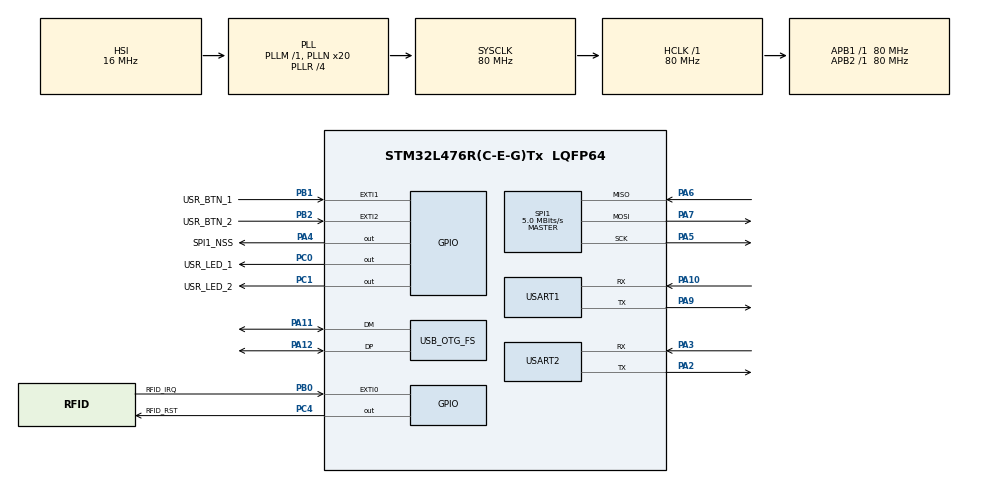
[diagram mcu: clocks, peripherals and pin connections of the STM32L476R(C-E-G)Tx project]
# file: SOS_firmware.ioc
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Mcu.Family=STM32L4
Mcu.Name=STM32L476R(C-E-G)Tx
Mcu.Package=LQFP64
NVIC.PriorityGroup=NVIC_PRIORITYGROUP_4
NVIC.TIM6_DAC_IRQn=true\:15\:0\:false\:false\:true\:false\:true\:true
NVIC.TimeBase=TIM6_DAC_IRQn
NVIC.TimeBaseIP=TIM6
PA10.Mode=Asynchronous
PA10.Signal=USART1_RX
PA11.Mode=Device_Only
PA11.Signal=USB_OTG_FS_DM
PA12.Mode=Device_Only
PA12.Signal=USB_OTG_FS_DP
PA13\ (JTMS-SWDIO).Mode=Trace_Asynchronous_SW
PA13\ (JTMS-SWDIO).Signal=SYS_JTMS-SWDIO
PA14\ (JTCK-SWCLK).Mode=Trace_Asynchronous_SW
PA14\ (JTCK-SWCLK).Signal=SYS_JTCK-SWCLK
PA2.Mode=Asynchronous
PA2.Signal=USART2_TX
PA3.Mode=Asynchronous
PA3.Signal=USART2_RX
PA4.GPIO_Label=SPI1_NSS
PA4.Signal=GPIO_Output
PA5.Mode=Full_Duplex_Master
PA5.Signal=SPI1_SCK
PA6.Mode=Full_Duplex_Master
PA6.Signal=SPI1_MISO
PA7.Mode=Full_Duplex_Master
PA7.Signal=SPI1_MOSI
PA9.Mode=Asynchronous
PA9.Signal=USART1_TX
PB0.GPIO_Label=RFID_IRQ
PB0.Signal=GPXTI0
PB1.GPIO_Label=USR_BTN_1
PB1.Signal=GPXTI1
PB2.GPIO_Label=USR_BTN_2
PB2.Signal=GPXTI2
PB3\ (JTDO-TRACESWO).Mode=Trace_Asynchronous_SW
PB3\ (JTDO-TRACESWO).Signal=SYS_JTDO-SWO
PC0.GPIO_Label=USR_LED_1
PC0.Signal=GPIO_Output
PC1.GPIO_Label=USR_LED_2
PC1.Signal=GPIO_Output
PC4.GPIO_Label=RFID_RST
PC4.Signal=GPIO_Output
PH0-OSC_IN\ (PH0).Mode=HSE-External-Oscillator
PH0-OSC_IN\ (PH0).Signal=RCC_OSC_IN
PH1-OSC_OUT\ (PH1).Mode=HSE-External-Oscillator
PH1-OSC_OUT\ (PH1).Signal=RCC_OSC_OUT
ProjectManager.HeapSize=0x200
ProjectManager.StackSize=0x400
ProjectManager.TargetToolchain=STM32CubeIDE
RCC.ADCFreq_Value=96000000
RCC.AHBFreq_Value=80000000
RCC.APB1Freq_Value=80000000
RCC.APB1TimFreq_Value=80000000
RCC.APB2Freq_Value=80000000
RCC.APB2TimFreq_Value=80000000
RCC.CortexFreq_Value=80000000
RCC.FLatency-AdvancedSettings=FLASH_LATENCY_0
RCC.HCLKFreq_Value=80000000
RCC.HSE_VALUE=8000000
RCC.HSI_VALUE=16000000
RCC.LSE_VALUE=32768
RCC.MSI_VALUE=4000000
RCC.PLLN=20
RCC.PLLR=RCC_PLLR_DIV4
RCC.PLLSAI1N=12
RCC.PLLSAI1Q=RCC_PLLQ_DIV4
RCC.PLLSource=RCC_PLLSOURCE_HSI
RCC.PLLSourceVirtual=RCC_PLLSOURCE_HSI
RCC.SYSCLKFreq_VALUE=80000000
RCC.SYSCLKSource=RCC_SYSCLKSOURCE_PLLCLK
RCC.USBFreq_Value=48000000
RCC.VCOOutputFreq_Value=320000000
SPI1.BaudRatePrescaler=SPI_BAUDRATEPRESCALER_16
SPI1.CalculateBaudRate=5.0 MBits/s
SPI1.DataSize=SPI_DATASIZE_8BIT
SPI1.Direction=SPI_DIRECTION_2LINES
SPI1.Mode=SPI_MODE_MASTER
SPI1.VirtualType=VM_MASTER
USART1.VirtualMode-Asynchronous=VM_ASYNC
USART2.VirtualMode-Asynchronous=VM_ASYNC
USB_OTG_FS.VirtualMode=Device_Only
VP_SYS_VS_tim6.Mode=TIM6
board=custom

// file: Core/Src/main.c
/* USER CODE BEGIN Header */
/**
 ******************************************************************************
 * @file           : main.c
 * @brief          : Main program body
 ******************************************************************************
 * @attention
 *
 * Copyright (c) 2026 STMicroelectronics.
 * All rights reserved.
 *
 * This software is licensed under terms that can be found in the LICENSE file
 * in the root directory of this software component.
 * If no LICENSE file comes with this software, it is provided AS-IS.
 *
 ******************************************************************************
 */
/* USER CODE END Header */
#include "main.h"
#include "spi.h"
#include "usart.h"
#include "usb_otg.h"
#include "gpio.h"

/* USER CODE BEGIN Includes */
#include "rfid.h"
#include "algo.h"
/* USER CODE END Includes */

void SystemClock_Config(void);

/* USER CODE BEGIN 0 */
// pour les printf
int __io_putchar(int ch){
	HAL_UART_Transmit(&huart2, (uint8_t *)&ch, 1, HAL_MAX_DELAY);
	return ch;
}

int __io_getchar(void){
	uint8_t ch = 0;
	__HAL_UART_CLEAR_OREFLAG(&huart2);
	HAL_UART_Receive(&huart2, (uint8_t *)&ch, 1, HAL_MAX_DELAY);
	HAL_UART_Transmit(&huart2, (uint8_t *)&ch, 1, HAL_MAX_DELAY);
	return ch;
}
/* USER CODE END 0 */

int main(void)
{

  /* MCU Configuration--------------------------------------------------------*/

  /* Reset of all peripherals, Initializes the Flash interface and the Systick. */
  HAL_Init();

  /* Configure the system clock */
  SystemClock_Config();

  /* Initialize all configured peripherals */
  MX_GPIO_Init();
  MX_SPI1_Init();
  MX_USART1_UART_Init();
  MX_USB_OTG_FS_PCD_Init();
  MX_USART2_UART_Init();
  /* USER CODE BEGIN 2 */
	printf("Hello world Init\r\n");
	// INIT RFID
	RFID_init(&hrfid1, &hspi1, SPI1_NSS_GPIO_Port, SPI1_NSS_Pin, RFID_RST_GPIO_Port, RFID_RST_Pin);
  /* USER CODE END 2 */

  /* Infinite loop */
  /* USER CODE BEGIN WHILE */
	while (1)
	{
		printf("Hello world\r\n");
		HAL_Delay(1000);
		test();
    /* USER CODE END WHILE */

	}
}

void SystemClock_Config(void)
{
  RCC_OscInitTypeDef RCC_OscInitStruct = {0};
  RCC_ClkInitTypeDef RCC_ClkInitStruct = {0};

  /** Configure the main internal regulator output voltage
  */
  if (HAL_PWREx_ControlVoltageScaling(PWR_REGULATOR_VOLTAGE_SCALE1) != HAL_OK)
  {
    Error_Handler();
  }

  /** Initializes the RCC Oscillators according to the specified parameters
  * in the RCC_OscInitTypeDef structure.
  */
  RCC_OscInitStruct.OscillatorType = RCC_OSCILLATORTYPE_HSI;
  RCC_OscInitStruct.HSIState = RCC_HSI_ON;
  RCC_OscInitStruct.HSICalibrationValue = RCC_HSICALIBRATION_DEFAULT;
  RCC_OscInitStruct.PLL.PLLState = RCC_PLL_ON;
  RCC_OscInitStruct.PLL.PLLSource = RCC_PLLSOURCE_HSI;
  RCC_OscInitStruct.PLL.PLLM = 1;
  RCC_OscInitStruct.PLL.PLLN = 20;
  RCC_OscInitStruct.PLL.PLLP = RCC_PLLP_DIV7;
  RCC_OscInitStruct.PLL.PLLQ = RCC_PLLQ_DIV2;
  RCC_OscInitStruct.PLL.PLLR = RCC_PLLR_DIV4;
  if (HAL_RCC_OscConfig(&RCC_OscInitStruct) != HAL_OK)
  {
    Error_Handler();
  }

  /** Initializes the CPU, AHB and APB buses clocks
  */
  RCC_ClkInitStruct.ClockType = RCC_CLOCKTYPE_HCLK|RCC_CLOCKTYPE_SYSCLK
                              |RCC_CLOCKTYPE_PCLK1|RCC_CLOCKTYPE_PCLK2;
  RCC_ClkInitStruct.SYSCLKSource = RCC_SYSCLKSOURCE_PLLCLK;
  RCC_ClkInitStruct.AHBCLKDivider = RCC_SYSCLK_DIV1;
  RCC_ClkInitStruct.APB1CLKDivider = RCC_HCLK_DIV1;
  RCC_ClkInitStruct.APB2CLKDivider = RCC_HCLK_DIV1;

  if (HAL_RCC_ClockConfig(&RCC_ClkInitStruct, FLASH_LATENCY_4) != HAL_OK)
  {
    Error_Handler();
  }
}

void HAL_TIM_PeriodElapsedCallback(TIM_HandleTypeDef *htim)
{
  if (htim->Instance == TIM6)
  {
    HAL_IncTick();
  }
}

void Error_Handler(void)
{
	__disable_irq();
	while (1)
	{
	}
}
